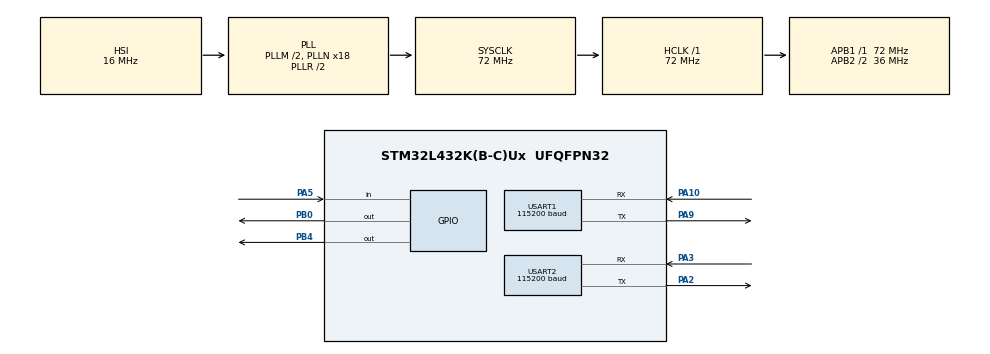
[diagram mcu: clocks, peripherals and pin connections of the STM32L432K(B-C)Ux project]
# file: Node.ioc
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Mcu.Family=STM32L4
Mcu.Name=STM32L432K(B-C)Ux
Mcu.Package=UFQFPN32
NVIC.PriorityGroup=NVIC_PRIORITYGROUP_4
NVIC.TIM1_CC_IRQn=true\:0\:0\:false\:false\:true\:true\:true
NVIC.USART1_IRQn=true\:0\:0\:false\:false\:true\:true\:true
NVIC.USART2_IRQn=true\:0\:0\:false\:false\:true\:true\:true
PA10.Mode=Asynchronous
PA10.Signal=USART1_RX
PA13\ (JTMS-SWDIO).Mode=Serial_Wire
PA13\ (JTMS-SWDIO).Signal=SYS_JTMS-SWDIO
PA14\ (JTCK-SWCLK).Mode=Serial_Wire
PA14\ (JTCK-SWCLK).Signal=SYS_JTCK-SWCLK
PA2.Mode=Asynchronous
PA2.Signal=USART2_TX
PA3.Mode=Asynchronous
PA3.Signal=USART2_RX
PA5.Signal=GPIO_Input
PA9.Mode=Asynchronous
PA9.Signal=USART1_TX
PB0.Signal=GPIO_Output
PB4\ (NJTRST).Signal=GPIO_Output
PC14-OSC32_IN\ (PC14).Mode=LSE-External-Oscillator
PC14-OSC32_IN\ (PC14).Signal=RCC_OSC32_IN
PC15-OSC32_OUT\ (PC15).Mode=LSE-External-Oscillator
PC15-OSC32_OUT\ (PC15).Signal=RCC_OSC32_OUT
ProjectManager.HeapSize=0x200
ProjectManager.StackSize=0x400
ProjectManager.TargetToolchain=MDK-ARM V5.27
RCC.ADCFreq_Value=32000000
RCC.AHBFreq_Value=72000000
RCC.APB1Freq_Value=72000000
RCC.APB1TimFreq_Value=72000000
RCC.APB2CLKDivider=RCC_HCLK_DIV2
RCC.APB2Freq_Value=36000000
RCC.APB2TimFreq_Value=72000000
RCC.CortexFreq_Value=72000000
RCC.HCLKFreq_Value=72000000
RCC.HSE_VALUE=8000000
RCC.HSI48_VALUE=48000000
RCC.HSI_VALUE=16000000
RCC.MSI_VALUE=4000000
RCC.PLLM=2
RCC.PLLN=18
RCC.PLLSourceVirtual=RCC_PLLSOURCE_HSI
RCC.SYSCLKFreq_VALUE=72000000
RCC.SYSCLKSource=RCC_SYSCLKSOURCE_PLLCLK
RCC.USBFreq_Value=32000000
RCC.VCOOutputFreq_Value=144000000
TIM1.Period=0xffff-1
TIM1.Prescaler=8-1
USART1.BaudRate=115200
USART1.VirtualMode-Asynchronous=VM_ASYNC
USART2.BaudRate=115200
USART2.VirtualMode-Asynchronous=VM_ASYNC
VP_TIM1_VS_ClockSourceINT.Mode=Internal
board=custom

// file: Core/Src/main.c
/* USER CODE BEGIN Header */
/**
  ******************************************************************************
  * @file           : main.c
  * @brief          : Main program body
  ******************************************************************************
  * @attention
  *
  * <h2><center>&copy; Copyright (c) 2021 STMicroelectronics.
  * All rights reserved.</center></h2>
  *
  * This software component is licensed by ST under BSD 3-Clause license,
  * the "License"; You may not use this file except in compliance with the
  * License. You may obtain a copy of the License at:
  *                        opensource.org/licenses/BSD-3-Clause
  *
  ******************************************************************************
  */
/* USER CODE END Header */
#include "main.h"

TIM_HandleTypeDef htim1;

UART_HandleTypeDef huart1;
UART_HandleTypeDef huart2;

void SystemClock_Config(void);
static void MX_GPIO_Init(void);
static void MX_TIM1_Init(void);
static void MX_USART1_UART_Init(void);
static void MX_USART2_UART_Init(void);

/* USER CODE BEGIN 0 */
uint8_t xtemp='0';
uint8_t LED_ON_COUNTER=0;

/* USER CODE END 0 */

int main(void)
{
  /* USER CODE BEGIN 1 */
	  int LED_TRACKER[2] = {0,0};
  /* USER CODE END 1 */

  /* MCU Configuration--------------------------------------------------------*/

  /* Reset of all peripherals, Initializes the Flash interface and the Systick. */
  HAL_Init();

  /* Configure the system clock */
  SystemClock_Config();

  /* Initialize all configured peripherals */
  MX_GPIO_Init();
  MX_TIM1_Init();
  MX_USART1_UART_Init();
  MX_USART2_UART_Init();
  /* USER CODE BEGIN 2 */
	HAL_GPIO_WritePin(GPIOB, GPIO_PIN_0, GPIO_PIN_RESET);
	HAL_GPIO_WritePin(GPIOB, GPIO_PIN_4, GPIO_PIN_RESET);
	int SetActiveTime=20;
  /* USER CODE END 2 */

  /* Infinite loop */
  /* USER CODE BEGIN WHILE */
  while (1)
  {
		LED_ON_COUNTER=0;
			if(LED_TRACKER[0]>0){
				HAL_GPIO_WritePin(GPIOB, GPIO_PIN_0, 1);
				LED_ON_COUNTER++;
			}
			else{
				HAL_GPIO_WritePin(GPIOB, GPIO_PIN_0, GPIO_PIN_RESET);
				LED_ON_COUNTER--;
			}
			if(LED_TRACKER[1]>0){
				LED_ON_COUNTER++;
				HAL_GPIO_WritePin(GPIOB, GPIO_PIN_4, 1);
			}
			else{
				HAL_GPIO_WritePin(GPIOB, GPIO_PIN_4, GPIO_PIN_RESET);
				LED_ON_COUNTER--;
			}

			if((HAL_GPIO_ReadPin(GPIOA,GPIO_PIN_5) == 0)){
				LED_TRACKER[0]=SetActiveTime;
				LED_TRACKER[1]=SetActiveTime;

				while(HAL_GPIO_ReadPin(GPIOA,GPIO_PIN_5) == 0){};

				LED_ON_COUNTER=LED_ON_COUNTER+2;
			}
			if(LED_TRACKER[0]>0)
				LED_TRACKER[0]--;
			if(LED_TRACKER[1]>0)
				LED_TRACKER[1]--;

			xtemp= LED_ON_COUNTER+'0';
			if(LED_ON_COUNTER==0)
				xtemp='0'+2;

			HAL_UART_Transmit(&huart1,&xtemp,sizeof(xtemp),HAL_MAX_DELAY);
			HAL_UART_Transmit(&huart2,&xtemp,sizeof(xtemp),HAL_MAX_DELAY);
			HAL_Delay(3000);

    /* USER CODE END WHILE */

  }
}

void SystemClock_Config(void)
{
  RCC_OscInitTypeDef RCC_OscInitStruct = {0};
  RCC_ClkInitTypeDef RCC_ClkInitStruct = {0};
  RCC_PeriphCLKInitTypeDef PeriphClkInit = {0};

  /** Initializes the RCC Oscillators according to the specified parameters
  * in the RCC_OscInitTypeDef structure.
  */
  RCC_OscInitStruct.OscillatorType = RCC_OSCILLATORTYPE_HSI;
  RCC_OscInitStruct.HSIState = RCC_HSI_ON;
  RCC_OscInitStruct.HSICalibrationValue = RCC_HSICALIBRATION_DEFAULT;
  RCC_OscInitStruct.PLL.PLLState = RCC_PLL_ON;
  RCC_OscInitStruct.PLL.PLLSource = RCC_PLLSOURCE_HSI;
  RCC_OscInitStruct.PLL.PLLM = 2;
  RCC_OscInitStruct.PLL.PLLN = 18;
  RCC_OscInitStruct.PLL.PLLP = RCC_PLLP_DIV7;
  RCC_OscInitStruct.PLL.PLLQ = RCC_PLLQ_DIV2;
  RCC_OscInitStruct.PLL.PLLR = RCC_PLLR_DIV2;
  if (HAL_RCC_OscConfig(&RCC_OscInitStruct) != HAL_OK)
  {
    Error_Handler();
  }
  /** Initializes the CPU, AHB and APB buses clocks
  */
  RCC_ClkInitStruct.ClockType = RCC_CLOCKTYPE_HCLK|RCC_CLOCKTYPE_SYSCLK
                              |RCC_CLOCKTYPE_PCLK1|RCC_CLOCKTYPE_PCLK2;
  RCC_ClkInitStruct.SYSCLKSource = RCC_SYSCLKSOURCE_PLLCLK;
  RCC_ClkInitStruct.AHBCLKDivider = RCC_SYSCLK_DIV1;
  RCC_ClkInitStruct.APB1CLKDivider = RCC_HCLK_DIV1;
  RCC_ClkInitStruct.APB2CLKDivider = RCC_HCLK_DIV2;

  if (HAL_RCC_ClockConfig(&RCC_ClkInitStruct, FLASH_LATENCY_4) != HAL_OK)
  {
    Error_Handler();
  }
  PeriphClkInit.PeriphClockSelection = RCC_PERIPHCLK_USART1|RCC_PERIPHCLK_USART2;
  PeriphClkInit.Usart1ClockSelection = RCC_USART1CLKSOURCE_PCLK2;
  PeriphClkInit.Usart2ClockSelection = RCC_USART2CLKSOURCE_PCLK1;
  if (HAL_RCCEx_PeriphCLKConfig(&PeriphClkInit) != HAL_OK)
  {
    Error_Handler();
  }
  /** Configure the main internal regulator output voltage
  */
  if (HAL_PWREx_ControlVoltageScaling(PWR_REGULATOR_VOLTAGE_SCALE1) != HAL_OK)
  {
    Error_Handler();
  }
}

static void MX_TIM1_Init(void)
{

  TIM_ClockConfigTypeDef sClockSourceConfig = {0};
  TIM_MasterConfigTypeDef sMasterConfig = {0};

  htim1.Instance = TIM1;
  htim1.Init.Prescaler = 8-1;
  htim1.Init.CounterMode = TIM_COUNTERMODE_UP;
  htim1.Init.Period = 0xffff-1;
  htim1.Init.ClockDivision = TIM_CLOCKDIVISION_DIV1;
  htim1.Init.RepetitionCounter = 0;
  htim1.Init.AutoReloadPreload = TIM_AUTORELOAD_PRELOAD_DISABLE;
  if (HAL_TIM_Base_Init(&htim1) != HAL_OK)
  {
    Error_Handler();
  }
  sClockSourceConfig.ClockSource = TIM_CLOCKSOURCE_INTERNAL;
  if (HAL_TIM_ConfigClockSource(&htim1, &sClockSourceConfig) != HAL_OK)
  {
    Error_Handler();
  }
  sMasterConfig.MasterOutputTrigger = TIM_TRGO_RESET;
  sMasterConfig.MasterOutputTrigger2 = TIM_TRGO2_RESET;
  sMasterConfig.MasterSlaveMode = TIM_MASTERSLAVEMODE_DISABLE;
  if (HAL_TIMEx_MasterConfigSynchronization(&htim1, &sMasterConfig) != HAL_OK)
  {
    Error_Handler();
  }

}

static void MX_USART1_UART_Init(void)
{

  huart1.Instance = USART1;
  huart1.Init.BaudRate = 115200;
  huart1.Init.WordLength = UART_WORDLENGTH_8B;
  huart1.Init.StopBits = UART_STOPBITS_1;
  huart1.Init.Parity = UART_PARITY_NONE;
  huart1.Init.Mode = UART_MODE_TX_RX;
  huart1.Init.HwFlowCtl = UART_HWCONTROL_NONE;
  huart1.Init.OverSampling = UART_OVERSAMPLING_16;
  huart1.Init.OneBitSampling = UART_ONE_BIT_SAMPLE_DISABLE;
  huart1.AdvancedInit.AdvFeatureInit = UART_ADVFEATURE_NO_INIT;
  if (HAL_UART_Init(&huart1) != HAL_OK)
  {
    Error_Handler();
  }

}

static void MX_USART2_UART_Init(void)
{

  huart2.Instance = USART2;
  huart2.Init.BaudRate = 115200;
  huart2.Init.WordLength = UART_WORDLENGTH_8B;
  huart2.Init.StopBits = UART_STOPBITS_1;
  huart2.Init.Parity = UART_PARITY_NONE;
  huart2.Init.Mode = UART_MODE_TX_RX;
  huart2.Init.HwFlowCtl = UART_HWCONTROL_NONE;
  huart2.Init.OverSampling = UART_OVERSAMPLING_16;
  huart2.Init.OneBitSampling = UART_ONE_BIT_SAMPLE_DISABLE;
  huart2.AdvancedInit.AdvFeatureInit = UART_ADVFEATURE_NO_INIT;
  if (HAL_UART_Init(&huart2) != HAL_OK)
  {
    Error_Handler();
  }

}

static void MX_GPIO_Init(void)
{
  GPIO_InitTypeDef GPIO_InitStruct = {0};

  /* GPIO Ports Clock Enable */
  __HAL_RCC_GPIOC_CLK_ENABLE();
  __HAL_RCC_GPIOA_CLK_ENABLE();
  __HAL_RCC_GPIOB_CLK_ENABLE();

  /*Configure GPIO pin Output Level */
  HAL_GPIO_WritePin(GPIOB, GPIO_PIN_0|GPIO_PIN_4, GPIO_PIN_RESET);

  /*Configure GPIO pin : PA5 */
  GPIO_InitStruct.Pin = GPIO_PIN_5;
  GPIO_InitStruct.Mode = GPIO_MODE_INPUT;
  GPIO_InitStruct.Pull = GPIO_NOPULL;
  HAL_GPIO_Init(GPIOA, &GPIO_InitStruct);

  /*Configure GPIO pins : PB0 PB4 */
  GPIO_InitStruct.Pin = GPIO_PIN_0|GPIO_PIN_4;
  GPIO_InitStruct.Mode = GPIO_MODE_OUTPUT_PP;
  GPIO_InitStruct.Pull = GPIO_NOPULL;
  GPIO_InitStruct.Speed = GPIO_SPEED_FREQ_LOW;
  HAL_GPIO_Init(GPIOB, &GPIO_InitStruct);

}

void Error_Handler(void)
{
  __disable_irq();
  while (1)
  {
  }
}

/************************ (C) COPYRIGHT STMicroelectronics *****END OF FILE****/
